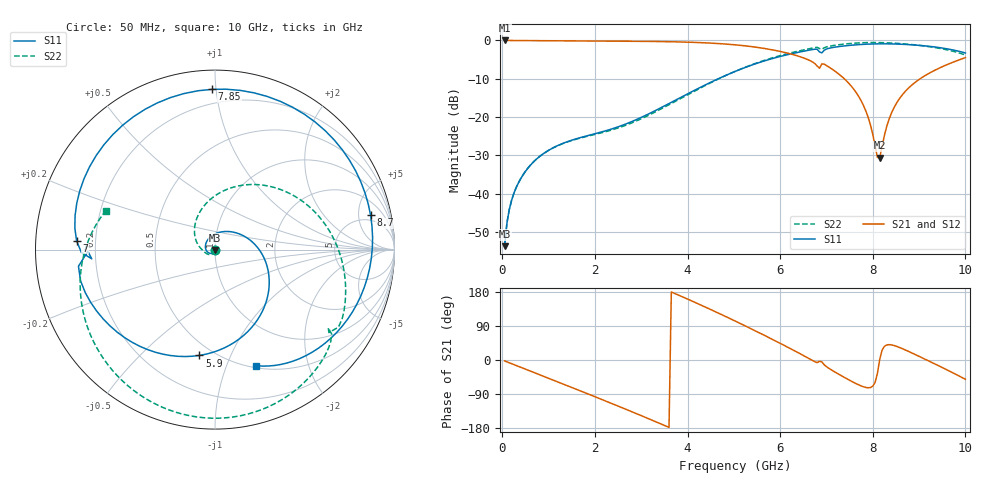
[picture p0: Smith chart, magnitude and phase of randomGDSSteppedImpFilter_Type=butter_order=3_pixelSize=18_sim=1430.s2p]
! freq	dB(S11)	phase(S11)	dB(S12)	phase(S12)
!  dB(S21)	phase(S21)	dB(S22)	phase(S22)
!S-par simulation data
#  GHz  S  DB  R 50
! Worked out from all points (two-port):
!   200 points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, 50 MHz to 10 GHz, reference 50 ohm
!   highest |S21| = 0.00 dB at 50 MHz (marker M1); lowest = -30.6 dB at 8.15 GHz (marker M2)
!   |S21| within 3 dB of the highest: start of sweep to 6.052 GHz
!   lowest |S11| = -53.7 dB at 50 MHz (marker M3), VSWR 1.00, Z = 50 - j0.208 ohm
!   |S11| at or under -10 dB: start of sweep to 4.662 GHz
!   |S22| runs from -53.6 to -0.5 dB; largest |S21 - S12| = 0
!   S11 on the Smith chart (normalised r, x): 50 MHz: 1.00, -0.00; 5.9 GHz: 0.42, -0.77; 7 GHz: 0.13, +0.03; 7.85 GHz: 0.11, +0.97; 8.7 GHz: 3.92, +7.05; 10 GHz: 0.52, -1.28
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0.05  -53.66 -90.6  -0.00 -2.4  -0.00 -2.4  -53.56 -89.9
0.1  -47.66 -94.1  -0.01 -4.9  -0.01 -4.9  -47.58 -92.6
0.2  -41.74 -99.7  -0.01 -9.7  -0.01 -9.7  -41.70 -96.9
0.5  -34.16 -118.0  -0.04 -24.1  -0.04 -24.1  -34.11 -111.2
1.15  -27.68 -156.7  -0.07 -55.5  -0.07 -55.5  -27.71 -138.2
1.75  -25.13 164.6  -0.11 -84.6  -0.11 -84.6  -25.25 -159.0
2.5  -22.54 111.0  -0.17 -121.6  -0.17 -121.6  -22.83 -179.6
3.4  -17.71 50.3  -0.29 -167.4  -0.29 -167.4  -18.04 150.5
4.15  -13.01 7.5  -0.51 152.7  -0.51 152.7  -13.20 114.3
5.05  -7.97 -43.6  -1.16 101.6  -1.16 101.6  -7.95 64.4
5.9  -4.49 -98.4  -2.61 50.3  -2.61 50.3  -4.29 17.2
6.3  -3.32 -127.9  -3.76 25.1  -3.76 25.1  -3.03 -4.1
6.7  -2.37 -161.7  -5.62 -1.4  -5.62 -1.4  -1.98 -25.5
7  -2.24 176.3  -6.52 -17.6  -6.52 -17.6  -1.69 -38.4
7.4  -1.40 136.7  -10.16 -46.8  -10.16 -46.8  -0.93 -58.8
7.85  -0.98 91.1  -18.38 -72.4  -18.38 -72.4  -0.57 -81.3
8.1  -0.89 66.2  -30.52 -35.6  -30.52 -35.6  -0.55 -93.6
8.15  -0.88 61.4  -30.61 1.5  -30.61 1.5  -0.56 -96.1
8.35  -0.89 42.6  -20.59 40.6  -20.59 40.6  -0.64 -105.8
8.7  -1.04 12.4  -13.31 26.7  -13.31 26.7  -0.91 -122.9
9.35  -1.72 -34.2  -7.71 -10.9  -7.71 -10.9  -1.86 -156.5
10  -3.26 -70.4  -4.48 -50.9  -4.48 -50.9  -3.80 160.4
